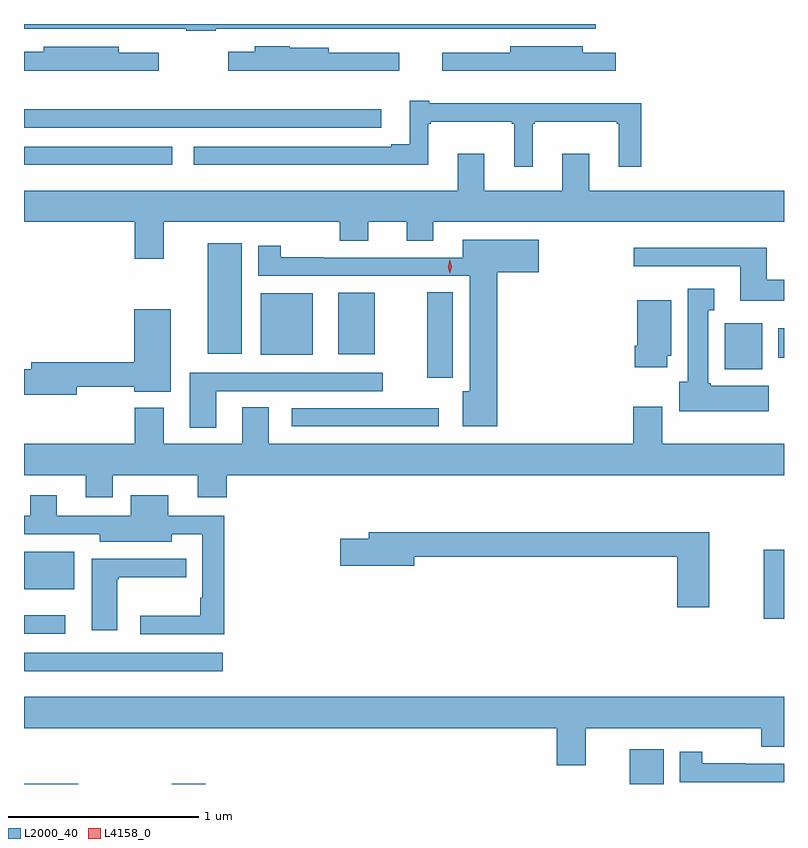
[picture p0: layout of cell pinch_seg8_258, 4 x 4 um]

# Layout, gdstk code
import gdstk
lib = gdstk.Library(unit=1e-6, precision=1e-09)
def R(c, l, rs):  # rectangles x0, y0, x1, y1
    for r in rs: c.add(gdstk.rectangle(r[:2], r[2:], *l))
def P(c, l, *ps):  # polygons
    for p in ps: c.add(gdstk.Polygon(p, *l))
L2000_40 = (2000, 40)
L4158_0 = (4158, 0)

pinch_seg8_258 = lib.new_cell('pinch_seg8_258')
R(pinch_seg8_258, L2000_40, [(493.563,1148.174,493.849,1148.175), (494.341,1148.174,494.519,1148.176), (496.751,1148.174,496.93,1148.356), (493.563,1148.768,494.608,1148.865), (493.563,1148.964,493.78,1149.061), (497.456,1149.044,497.563,1149.406), (493.563,1149.2,493.828,1149.397), (494.973,1150.056,495.745,1150.152), (495.686,1150.311,495.82,1150.763), (497.252,1150.358,497.449,1150.6), (497.534,1150.417,497.563,1150.573), (494.81,1150.433,495.082,1150.756), (495.218,1150.436,495.409,1150.759), (494.531,1150.439,494.71,1151.02), (493.563,1151.432,494.344,1151.529), (493.563,1151.628,495.442,1151.726)])
P(pinch_seg8_258, L2000_40, [(494.573,1152.15),(496.573,1152.15),(496.573,1152.174),(493.563,1152.174),(493.563,1152.15),(494.418,1152.15),(494.418,1152.138),(494.573,1152.138)],
  [(496.678,1152.024),(496.504,1152.024),(496.504,1152.058),(496.121,1152.058),(496.121,1152.024),(495.765,1152.024),(495.765,1151.927),(496.678,1151.927)],
  [(495.538,1152.024),(495.168,1152.024),(495.168,1152.049),(494.961,1152.049),(494.961,1152.058),(494.777,1152.058),(494.777,1152.028),(494.637,1152.028),(494.637,1151.927),(495.538,1151.927)],
  [(494.272,1152.024),(494.062,1152.024),(494.062,1152.055),(493.668,1152.055),(493.668,1152.028),(493.563,1152.028),(493.563,1151.927),(494.272,1151.927)],
  [(496.24,1151.649),(496.252,1151.649),(496.252,1151.66),(496.683,1151.66),(496.683,1151.649),(496.694,1151.649),(496.694,1151.424),(496.811,1151.424),(496.811,1151.758),(495.697,1151.758),(495.697,1151.77),(495.593,1151.77),(495.593,1151.542),(495.497,1151.542),(495.497,1151.529),(494.457,1151.529),(494.457,1151.432),(495.691,1151.432),(495.691,1151.649),(495.703,1151.649),(495.703,1151.66),(496.131,1151.66),(496.131,1151.649),(496.142,1151.649),(496.142,1151.424),(496.24,1151.424)],
  [(494.299,1151.132),(495.224,1151.132),(495.224,1151.033),(495.376,1151.033),(495.376,1151.132),(495.578,1151.132),(495.578,1151.033),(495.718,1151.033),(495.718,1151.132),(497.563,1151.132),(497.563,1151.296),(496.537,1151.296),(496.537,1151.491),(496.397,1151.491),(496.397,1151.296),(495.985,1151.296),(495.985,1151.491),(495.845,1151.491),(495.845,1151.296),(493.563,1151.296),(493.563,1151.132),(494.147,1151.132),(494.147,1150.938),(494.299,1150.938)],
  [(496.055,1150.868),(496.273,1150.868),(496.273,1151.038),(495.872,1151.038),(495.872,1150.944),(495.14,1150.944),(495.14,1150.946),(494.913,1150.946),(494.913,1151.008),(494.795,1151.008),(494.795,1150.848),(495.908,1150.848),(495.908,1150.24),(495.872,1150.24),(495.872,1150.058),(496.055,1150.058)],
  [(497.563,1150.828),(497.473,1150.828),(497.473,1150.996),(496.773,1150.996),(496.773,1150.899),(497.333,1150.899),(497.333,1150.718),(497.563,1150.718)],
  [(497.482,1150.27),(497.178,1150.27),(497.178,1150.284),(497.164,1150.284),(497.164,1150.667),(497.197,1150.667),(497.197,1150.78),(497.057,1150.78),(497.057,1150.29),(497.012,1150.29),(497.012,1150.136),(497.482,1150.136)],
  [(496.948,1150.428),(496.969,1150.428),(496.969,1150.72),(496.79,1150.72),(496.79,1150.48),(496.778,1150.48),(496.778,1150.368),(496.948,1150.368)],
  [(493.84,1150.266),(494.144,1150.266),(494.144,1150.238),(494.335,1150.238),(494.335,1150.672),(494.144,1150.672),(494.144,1150.394),(493.601,1150.394),(493.601,1150.358),(493.563,1150.358),(493.563,1150.223),(493.84,1150.223)],
  [(494.575,1150.242),(495.451,1150.242),(495.451,1150.338),(494.435,1150.338),(494.435,1150.05),(494.575,1150.05)],
  [(494.029,1149.8),(494.477,1149.8),(494.477,1149.683),(494.63,1149.683),(494.63,1149.8),(497.563,1149.8),(497.563,1149.964),(496.921,1149.964),(496.921,1150.159),(496.769,1150.159),(496.769,1149.964),(494.851,1149.964),(494.851,1150.157),(494.711,1150.157),(494.711,1149.964),(494.299,1149.964),(494.299,1150.153),(494.147,1150.153),(494.147,1149.964),(493.563,1149.964),(493.563,1149.8),(493.889,1149.8),(493.889,1149.683),(494.029,1149.683)],
  [(494.618,1149.585),(494.323,1149.585),(494.323,1149.694),(494.126,1149.694),(494.126,1149.585),(493.735,1149.585),(493.735,1149.694),(493.595,1149.694),(493.595,1149.585),(493.563,1149.585),(493.563,1149.489),(493.961,1149.489),(493.961,1149.449),(494.341,1149.449),(494.341,1149.489),(494.502,1149.489),(494.502,1149.154),(494.49,1149.154),(494.49,1149.059),(494.175,1149.059),(494.175,1148.961),(494.618,1148.961)],
  [(497.17,1149.499),(495.377,1149.499),(495.377,1149.465),(495.228,1149.465),(495.228,1149.323),(495.616,1149.323),(495.616,1149.37),(497,1149.37),(497,1149.105),(497.17,1149.105)],
  [(494.053,1149.252),(494.061,1149.252),(494.061,1149.263),(494.417,1149.263),(494.417,1149.36),(493.919,1149.36),(493.919,1148.982),(494.053,1148.982)],
  [(496.519,1148.468),(497.444,1148.468),(497.444,1148.369),(497.563,1148.369),(497.563,1148.632),(493.563,1148.632),(493.563,1148.468),(496.367,1148.468),(496.367,1148.274),(496.519,1148.274)],
  [(497.563,1148.28),(497.36,1148.28),(497.36,1148.282),(497.133,1148.282),(497.133,1148.344),(497.015,1148.344),(497.015,1148.184),(497.563,1148.184)])
P(pinch_seg8_258, L4158_0, [(495.805,1150.861),(495.804,1150.862),(495.795,1150.897),(495.804,1150.932),(495.805,1150.933),(495.805,1150.932),(495.815,1150.897),(495.805,1150.862)])

lib.write_gds('pinch_seg8_258.gds')
